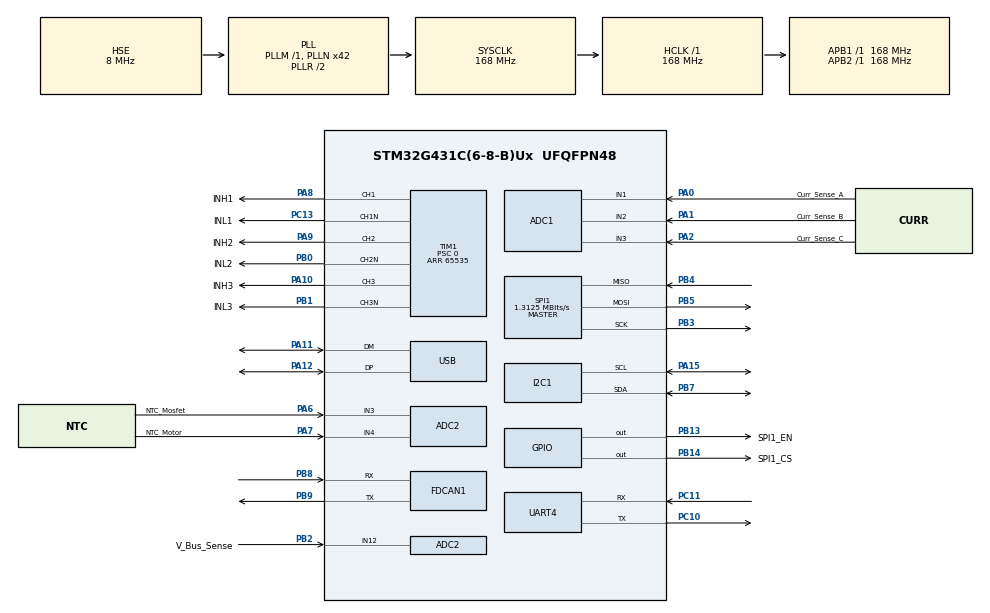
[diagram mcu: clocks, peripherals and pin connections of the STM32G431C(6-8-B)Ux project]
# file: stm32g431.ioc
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ADC1.Channel-6\#ChannelRegularConversion=ADC_CHANNEL_1
ADC1.ClockPrescaler=ADC_CLOCK_ASYNC_DIV1
ADC1.DMAAccessModeView=ENABLE
ADC1.EOCSelection=ADC_EOC_SEQ_CONV
ADC1.EnableInjectedConversion=ENABLE
ADC1.EnableRegularConversion=ENABLE
ADC1.ExternalTrigInjecConv=ADC_EXTERNALTRIGINJEC_T1_TRGO
ADC1.ExternalTrigInjecConvEdge=ADC_EXTERNALTRIGINJECCONV_EDGE_RISING
ADC1.InjNumberOfConversion=3
ADC1.InjectedChannel-2\#ChannelInjectedConversion=ADC_CHANNEL_1
ADC1.InjectedChannel-3\#ChannelInjectedConversion=ADC_CHANNEL_2
ADC1.InjectedChannel-5\#ChannelInjectedConversion=ADC_CHANNEL_3
ADC1.InjectedConvMode=None
ADC1.InjectedOffsetNumber-2\#ChannelInjectedConversion=ADC_OFFSET_NONE
ADC1.InjectedOffsetNumber-3\#ChannelInjectedConversion=ADC_OFFSET_NONE
ADC1.InjectedOffsetNumber-5\#ChannelInjectedConversion=ADC_OFFSET_NONE
ADC1.InjectedRank-2\#ChannelInjectedConversion=1
ADC1.InjectedRank-3\#ChannelInjectedConversion=2
ADC1.InjectedRank-5\#ChannelInjectedConversion=3
ADC1.InjectedSamplingTime-2\#ChannelInjectedConversion=ADC_SAMPLETIME_2CYCLES_5
ADC1.InjectedSamplingTime-3\#ChannelInjectedConversion=ADC_SAMPLETIME_2CYCLES_5
ADC1.InjectedSamplingTime-5\#ChannelInjectedConversion=ADC_SAMPLETIME_2CYCLES_5
ADC1.Mode=ADC_DUALMODE_REGSIMULT_INJECSIMULT
ADC1.NbrOfConversionFlag=1
ADC1.OffsetNumber-6\#ChannelRegularConversion=ADC_OFFSET_NONE
ADC1.Rank-6\#ChannelRegularConversion=1
ADC1.Rank3_Channel=ADC_CHANNEL_3
ADC1.SamplingTime-6\#ChannelRegularConversion=ADC_SAMPLETIME_2CYCLES_5
ADC1.injectedQueueMode=ENABLE
ADC1.master=1
ADC2.Channel-6\#ChannelRegularConversion=ADC_CHANNEL_3
ADC2.Channel-7\#ChannelRegularConversion=ADC_CHANNEL_4
ADC2.Channel-8\#ChannelRegularConversion=ADC_CHANNEL_12
ADC2.ClockPrescaler=ADC_CLOCK_ASYNC_DIV1
ADC2.DMAAccessModeView=ENABLE
ADC2.EnableInjectedConversion=ENABLE
ADC2.EnableRegularConversion=ENABLE
ADC2.InjNumberOfConversion=1
ADC2.InjectedChannel-2\#ChannelInjectedConversion=ADC_CHANNEL_3
ADC2.InjectedOffsetNumber-2\#ChannelInjectedConversion=ADC_OFFSET_NONE
ADC2.InjectedRank-2\#ChannelInjectedConversion=1
ADC2.InjectedSamplingTime-2\#ChannelInjectedConversion=ADC_SAMPLETIME_2CYCLES_5
ADC2.Mode=ADC_DUALMODE_REGSIMULT_INJECSIMULT
ADC2.NbrOfConversion=3
ADC2.NbrOfConversionFlag=1
ADC2.OffsetNumber-6\#ChannelRegularConversion=ADC_OFFSET_NONE
ADC2.OffsetNumber-7\#ChannelRegularConversion=ADC_OFFSET_NONE
ADC2.OffsetNumber-8\#ChannelRegularConversion=ADC_OFFSET_NONE
ADC2.Rank-6\#ChannelRegularConversion=1
ADC2.Rank-7\#ChannelRegularConversion=2
ADC2.Rank-8\#ChannelRegularConversion=3
ADC2.SamplingTime-6\#ChannelRegularConversion=ADC_SAMPLETIME_2CYCLES_5
ADC2.SamplingTime-7\#ChannelRegularConversion=ADC_SAMPLETIME_2CYCLES_5
ADC2.SamplingTime-8\#ChannelRegularConversion=ADC_SAMPLETIME_2CYCLES_5
FDCAN1.CalculateBaudRateNominal=3500000
FDCAN1.CalculateTimeBitNominal=285
FDCAN1.CalculateTimeQuantumNominal=95.23809523809524
FREERTOS.Tasks01=defaultTask,24,512,MainTask,Default,NULL,Dynamic,NULL,NULL;telemTask,8,512,TelemThread,As external,NULL,Dynamic,NULL,NULL;commTask,32,1024,CommThread,As external,NULL,Dynamic,NULL,NULL
FREERTOS.configTOTAL_HEAP_SIZE=12288
I2C1.Timing=0x50916E9F
Mcu.Family=STM32G4
Mcu.Name=STM32G431C(6-8-B)Ux
Mcu.Package=UFQFPN48
NVIC.ADC1_2_IRQn=true\:5\:0\:true\:false\:true\:true\:true\:true\:true
NVIC.PriorityGroup=NVIC_PRIORITYGROUP_4
NVIC.TIM2_IRQn=true\:15\:0\:false\:false\:true\:false\:false\:true\:true
NVIC.TimeBase=TIM2_IRQn
NVIC.TimeBaseIP=TIM2
NVIC.USB_LP_IRQn=true\:5\:0\:false\:false\:true\:true\:false\:true\:true
PA0.GPIO_Label=Curr_Sense_A
PA0.Mode=IN1-Single-Ended
PA0.Signal=ADC1_IN1
PA1.GPIO_Label=Curr_Sense_B
PA1.Mode=IN2-Single-Ended
PA1.Signal=ADC1_IN2
PA10.GPIO_Label=INH3
PA10.Signal=S_TIM1_CH3
PA11.Mode=Device
PA11.Signal=USB_DM
PA12.Mode=Device
PA12.Signal=USB_DP
PA13.Mode=Serial_Wire
PA13.Signal=SYS_JTMS-SWDIO
PA14.Mode=Serial_Wire
PA14.Signal=SYS_JTCK-SWCLK
PA15.Mode=I2C
PA15.Signal=I2C1_SCL
PA2.GPIO_Label=Curr_Sense_C
PA2.Mode=IN3-Single-Ended
PA2.Signal=ADC1_IN3
PA6.GPIO_Label=NTC_Mosfet
PA6.Mode=IN3-Single-Ended
PA6.Signal=ADC2_IN3
PA7.GPIO_Label=NTC_Motor
PA7.Mode=IN4-Single-Ended
PA7.Signal=ADC2_IN4
PA8.GPIO_Label=INH1
PA8.Signal=S_TIM1_CH1
PA9.GPIO_Label=INH2
PA9.Signal=S_TIM1_CH2
PB0.GPIO_Label=INL2
PB0.Mode=PWM Generation2 CH2 CH2N
PB0.Signal=TIM1_CH2N
PB1.GPIO_Label=INL3
PB1.Mode=PWM Generation3 CH3 CH3N
PB1.Signal=TIM1_CH3N
PB13.GPIO_Label=SPI1_EN
PB13.Signal=GPIO_Output
PB14.GPIO_Label=SPI1_CS
PB14.Signal=GPIO_Output
PB2.GPIO_Label=V_Bus_Sense
PB2.Mode=IN12-Single-Ended
PB2.Signal=ADC2_IN12
PB3.Mode=Full_Duplex_Master
PB3.Signal=SPI1_SCK
PB4.Mode=Full_Duplex_Master
PB4.Signal=SPI1_MISO
PB5.Mode=Full_Duplex_Master
PB5.Signal=SPI1_MOSI
PB7.Mode=I2C
PB7.Signal=I2C1_SDA
PB8-BOOT0.Mode=FDCAN_Activate
PB8-BOOT0.Signal=FDCAN1_RX
PB9.Mode=FDCAN_Activate
PB9.Signal=FDCAN1_TX
PC10.Mode=Asynchronous
PC10.Signal=UART4_TX
PC11.Mode=Asynchronous
PC11.Signal=UART4_RX
PC13.GPIO_Label=INL1
PC13.Mode=PWM Generation1 CH1 CH1N
PC13.Signal=TIM1_CH1N
PC15-OSC32_OUT.Signal=RCC_OSC32_OUT
PF0-OSC_IN.Mode=HSE-External-Oscillator
PF0-OSC_IN.Signal=RCC_OSC_IN
PF1-OSC_OUT.Mode=HSE-External-Oscillator
PF1-OSC_OUT.Signal=RCC_OSC_OUT
ProjectManager.HeapSize=0x200
ProjectManager.StackSize=0x400
ProjectManager.TargetToolchain=CMake
RCC.ADC12CLockSelection=RCC_ADC12CLKSOURCE_PLL
RCC.ADC12Freq_Value=48000000
RCC.AHBFreq_Value=168000000
RCC.APB1Freq_Value=168000000
RCC.APB1TimFreq_Value=168000000
RCC.APB2Freq_Value=168000000
RCC.APB2TimFreq_Value=168000000
RCC.CK48CLockSelection=RCC_USBCLKSOURCE_HSI48
RCC.CortexFreq_Value=168000000
RCC.EXTERNAL_CLOCK_VALUE=12288000
RCC.HCLKFreq_Value=168000000
RCC.HSE_VALUE=8000000
RCC.HSI48_VALUE=48000000
RCC.HSI_VALUE=16000000
RCC.LSE_VALUE=32768
RCC.PLLN=42
RCC.PLLP=RCC_PLLP_DIV7
RCC.PLLSourceVirtual=RCC_PLLSOURCE_HSE
RCC.SYSCLKFreq_VALUE=168000000
RCC.SYSCLKSource=RCC_SYSCLKSOURCE_PLLCLK
RCC.USBFreq_Value=48000000
RCC.VCOOutputFreq_Value=336000000
SH.S_TIM1_CH1.0=TIM1_CH1,PWM Generation1 CH1 CH1N
SH.S_TIM1_CH2.0=TIM1_CH2,PWM Generation2 CH2 CH2N
SH.S_TIM1_CH3.0=TIM1_CH3,PWM Generation3 CH3 CH3N
SPI1.BaudRatePrescaler=SPI_BAUDRATEPRESCALER_128
SPI1.CLKPhase=SPI_PHASE_1EDGE
SPI1.CLKPolarity=SPI_POLARITY_LOW
SPI1.CRCCalculation=SPI_CRCCALCULATION_DISABLE
SPI1.CalculateBaudRate=1.3125 MBits/s
SPI1.DataSize=SPI_DATASIZE_8BIT
SPI1.Direction=SPI_DIRECTION_2LINES
SPI1.FirstBit=SPI_FIRSTBIT_MSB
SPI1.Mode=SPI_MODE_MASTER
SPI1.NSS=SPI_NSS_SOFT
SPI1.NSSPMode=SPI_NSS_PULSE_DISABLE
SPI1.TIMode=SPI_TIMODE_DISABLE
SPI1.VirtualType=VM_MASTER
TIM1.AutoReloadPreload=TIM_AUTORELOAD_PRELOAD_DISABLE
TIM1.AutomaticOutput=TIM_AUTOMATICOUTPUT_DISABLE
TIM1.Break2Filter=0
TIM1.Break2Polarity=TIM_BREAK2POLARITY_HIGH
TIM1.Break2State=TIM_BREAK2_DISABLE
TIM1.BreakFilter=0
TIM1.BreakPolarity=TIM_BREAKPOLARITY_HIGH
TIM1.BreakState=TIM_BREAK_DISABLE
TIM1.Channel-PWM\ Generation1\ CH1\ CH1N=TIM_CHANNEL_1
TIM1.Channel-PWM\ Generation2\ CH2\ CH2N=TIM_CHANNEL_2
TIM1.Channel-PWM\ Generation3\ CH3\ CH3N=TIM_CHANNEL_3
TIM1.Channel-PWM\ Generation4\ CH4=TIM_CHANNEL_4
TIM1.ClockDivision=TIM_CLOCKDIVISION_DIV1
TIM1.CounterMode=TIM_COUNTERMODE_UP
TIM1.LockLevel=TIM_LOCKLEVEL_OFF
TIM1.OCFastMode_PWM-PWM\ Generation1\ CH1\ CH1N=TIM_OCFAST_DISABLE
TIM1.OCFastMode_PWM-PWM\ Generation2\ CH2\ CH2N=TIM_OCFAST_DISABLE
TIM1.OCFastMode_PWM-PWM\ Generation3\ CH3\ CH3N=TIM_OCFAST_DISABLE
TIM1.OCFastMode_PWM-PWM\ Generation4\ CH4=TIM_OCFAST_DISABLE
TIM1.OCIdleState_1=TIM_OCIDLESTATE_RESET
TIM1.OCIdleState_2=TIM_OCIDLESTATE_RESET
TIM1.OCIdleState_3=TIM_OCIDLESTATE_RESET
TIM1.OCIdleState_4=TIM_OCIDLESTATE_RESET
TIM1.OCMode_PWM-PWM\ Generation1\ CH1\ CH1N=TIM_OCMODE_PWM1
TIM1.OCMode_PWM-PWM\ Generation2\ CH2\ CH2N=TIM_OCMODE_PWM1
TIM1.OCMode_PWM-PWM\ Generation3\ CH3\ CH3N=TIM_OCMODE_PWM1
TIM1.OCMode_PWM-PWM\ Generation4\ CH4=TIM_OCMODE_PWM2
TIM1.OCNIdleState_1=TIM_OCNIDLESTATE_RESET
TIM1.OCNIdleState_2=TIM_OCNIDLESTATE_RESET
TIM1.OCNIdleState_3=TIM_OCNIDLESTATE_RESET
TIM1.OCNPolarity_1=TIM_OCNPOLARITY_HIGH
TIM1.OCNPolarity_2=TIM_OCNPOLARITY_HIGH
TIM1.OCNPolarity_3=TIM_OCNPOLARITY_HIGH
TIM1.OCPolarity_1=TIM_OCPOLARITY_HIGH
TIM1.OCPolarity_2=TIM_OCPOLARITY_HIGH
TIM1.OCPolarity_3=TIM_OCPOLARITY_HIGH
TIM1.OCPolarity_4=TIM_OCPOLARITY_HIGH
TIM1.OffStateIDLEMode=TIM_OSSI_DISABLE
TIM1.OffStateRunMode=TIM_OSSR_DISABLE
TIM1.Period=65535
TIM1.Prescaler=0
TIM1.Pulse-PWM\ Generation1\ CH1\ CH1N=0
TIM1.Pulse-PWM\ Generation2\ CH2\ CH2N=0
TIM1.Pulse-PWM\ Generation3\ CH3\ CH3N=0
TIM1.Pulse-PWM\ Generation4\ CH4=32767
TIM1.RepetitionCounter=0
TIM1.TIM_MasterOutputTrigger=TIM_TRGO_OC4REF
TIM1.TIM_MasterOutputTrigger2=TIM_TRGO2_RESET
TIM1.TIM_MasterSlaveMode=TIM_MASTERSLAVEMODE_DISABLE
USB_DEVICE.CLASS_NAME_FS=CDC
USB_DEVICE.VirtualMode=Cdc
USB_DEVICE.VirtualModeFS=Cdc_FS
VP_CORDIC_VS_CORDIC.Mode=CORDIC_Activate
VP_FMAC_VS_FMAC.Mode=FMAC_Activate
VP_FREERTOS_VS_CMSIS_V2.Mode=CMSIS_V2
VP_RNG_VS_RNG.Mode=RNG_Activate
VP_SYS_VS_DBSignals.Mode=DisableDeadBatterySignals
VP_SYS_VS_tim2.Mode=TIM2
VP_TIM1_VS_ClockSourceINT.Mode=Internal
VP_USB_DEVICE_VS_USB_DEVICE_CDC_FS.Mode=CDC_FS
board=custom

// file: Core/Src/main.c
/* USER CODE BEGIN Header */
/**
  ******************************************************************************
  * @file           : main.c
  * @brief          : Main program body
  ******************************************************************************
  * @attention
  *
  * Copyright (c) 2025 STMicroelectronics.
  * All rights reserved.
  *
  * This software is licensed under terms that can be found in the LICENSE file
  * in the root directory of this software component.
  * If no LICENSE file comes with this software, it is provided AS-IS.
  *
  ******************************************************************************
  */
/* USER CODE END Header */
#include "main.h"
#include "cmsis_os.h"
#include "usb_device.h"

/* USER CODE BEGIN Includes */
#include "bsp.h"
/* USER CODE END Includes */

ADC_HandleTypeDef hadc1;
ADC_HandleTypeDef hadc2;

CORDIC_HandleTypeDef hcordic;

FDCAN_HandleTypeDef hfdcan1;

FMAC_HandleTypeDef hfmac;

I2C_HandleTypeDef hi2c1;

RNG_HandleTypeDef hrng;

SPI_HandleTypeDef hspi1;

TIM_HandleTypeDef htim1;

UART_HandleTypeDef huart4;

/* Definitions for defaultTask */
osThreadId_t defaultTaskHandle;
const osThreadAttr_t defaultTask_attributes = {
  .name = "defaultTask",
  .priority = (osPriority_t) osPriorityNormal,
  .stack_size = 512 * 4
};
/* Definitions for telemTask */
osThreadId_t telemTaskHandle;
const osThreadAttr_t telemTask_attributes = {
  .name = "telemTask",
  .priority = (osPriority_t) osPriorityLow,
  .stack_size = 512 * 4
};
/* Definitions for commTask */
osThreadId_t commTaskHandle;
const osThreadAttr_t commTask_attributes = {
  .name = "commTask",
  .priority = (osPriority_t) osPriorityAboveNormal,
  .stack_size = 1024 * 4
};

void SystemClock_Config(void);
static void MX_GPIO_Init(void);
static void MX_ADC1_Init(void);
static void MX_ADC2_Init(void);
static void MX_TIM1_Init(void);
static void MX_FDCAN1_Init(void);
static void MX_I2C1_Init(void);
static void MX_UART4_Init(void);
static void MX_CORDIC_Init(void);
static void MX_FMAC_Init(void);
static void MX_RNG_Init(void);
static void MX_SPI1_Init(void);
void MainTask(void *argument);
extern void TelemThread(void *argument);
extern void CommThread(void *argument);

int main(void)
{

  /* MCU Configuration--------------------------------------------------------*/

  /* Reset of all peripherals, Initializes the Flash interface and the Systick. */
  HAL_Init();

  /* Configure the system clock */
  SystemClock_Config();

  /* Initialize all configured peripherals */
  MX_GPIO_Init();
  MX_ADC1_Init();
  MX_ADC2_Init();
  MX_TIM1_Init();
  MX_FDCAN1_Init();
  MX_I2C1_Init();
  MX_UART4_Init();
  MX_CORDIC_Init();
  MX_FMAC_Init();
  MX_RNG_Init();
  MX_SPI1_Init();
  /* USER CODE BEGIN 2 */
  bsp_init();
  bldc_comm_init(bsp_get_motor_handle());
  bldc_telem_init();
  bldc_dronecan_init();
  bldc_drv8323r_init();
  /* USER CODE END 2 */

  /* Init scheduler */
  osKernelInitialize();

  /* Create the thread(s) */
  /* creation of defaultTask */
  defaultTaskHandle = osThreadNew(MainTask, NULL, &defaultTask_attributes);

  /* creation of telemTask */
  telemTaskHandle = osThreadNew(TelemThread, NULL, &telemTask_attributes);

  /* creation of commTask */
  commTaskHandle = osThreadNew(CommThread, NULL, &commTask_attributes);

  /* Start scheduler */
  osKernelStart();

  /* We should never get here as control is now taken by the scheduler */

  /* Infinite loop */
  while (1)
  {

  }
}

void SystemClock_Config(void)
{
  RCC_OscInitTypeDef RCC_OscInitStruct = {0};
  RCC_ClkInitTypeDef RCC_ClkInitStruct = {0};

  /** Configure the main internal regulator output voltage
  */
  HAL_PWREx_ControlVoltageScaling(PWR_REGULATOR_VOLTAGE_SCALE1_BOOST);

  /** Initializes the RCC Oscillators according to the specified parameters
  * in the RCC_OscInitTypeDef structure.
  */
  RCC_OscInitStruct.OscillatorType = RCC_OSCILLATORTYPE_HSI48|RCC_OSCILLATORTYPE_HSE;
  RCC_OscInitStruct.HSEState = RCC_HSE_ON;
  RCC_OscInitStruct.HSI48State = RCC_HSI48_ON;
  RCC_OscInitStruct.PLL.PLLState = RCC_PLL_ON;
  RCC_OscInitStruct.PLL.PLLSource = RCC_PLLSOURCE_HSE;
  RCC_OscInitStruct.PLL.PLLM = RCC_PLLM_DIV1;
  RCC_OscInitStruct.PLL.PLLN = 42;
  RCC_OscInitStruct.PLL.PLLP = RCC_PLLP_DIV7;
  RCC_OscInitStruct.PLL.PLLQ = RCC_PLLQ_DIV2;
  RCC_OscInitStruct.PLL.PLLR = RCC_PLLR_DIV2;
  if (HAL_RCC_OscConfig(&RCC_OscInitStruct) != HAL_OK)
  {
    Error_Handler();
  }

  /** Initializes the CPU, AHB and APB buses clocks
  */
  RCC_ClkInitStruct.ClockType = RCC_CLOCKTYPE_HCLK|RCC_CLOCKTYPE_SYSCLK
                              |RCC_CLOCKTYPE_PCLK1|RCC_CLOCKTYPE_PCLK2;
  RCC_ClkInitStruct.SYSCLKSource = RCC_SYSCLKSOURCE_PLLCLK;
  RCC_ClkInitStruct.AHBCLKDivider = RCC_SYSCLK_DIV1;
  RCC_ClkInitStruct.APB1CLKDivider = RCC_HCLK_DIV1;
  RCC_ClkInitStruct.APB2CLKDivider = RCC_HCLK_DIV1;

  if (HAL_RCC_ClockConfig(&RCC_ClkInitStruct, FLASH_LATENCY_4) != HAL_OK)
  {
    Error_Handler();
  }
}

static void MX_ADC1_Init(void)
{

  ADC_MultiModeTypeDef multimode = {0};
  ADC_InjectionConfTypeDef sConfigInjected = {0};
  ADC_ChannelConfTypeDef sConfig = {0};

  /** Common config
  */
  hadc1.Instance = ADC1;
  hadc1.Init.ClockPrescaler = ADC_CLOCK_ASYNC_DIV1;
  hadc1.Init.Resolution = ADC_RESOLUTION_12B;
  hadc1.Init.DataAlign = ADC_DATAALIGN_RIGHT;
  hadc1.Init.GainCompensation = 0;
  hadc1.Init.ScanConvMode = ADC_SCAN_ENABLE;
  hadc1.Init.EOCSelection = ADC_EOC_SEQ_CONV;
  hadc1.Init.LowPowerAutoWait = DISABLE;
  hadc1.Init.ContinuousConvMode = DISABLE;
  hadc1.Init.NbrOfConversion = 1;
  hadc1.Init.DiscontinuousConvMode = DISABLE;
  hadc1.Init.ExternalTrigConv = ADC_SOFTWARE_START;
  hadc1.Init.ExternalTrigConvEdge = ADC_EXTERNALTRIGCONVEDGE_NONE;
  hadc1.Init.DMAContinuousRequests = DISABLE;
  hadc1.Init.Overrun = ADC_OVR_DATA_PRESERVED;
  hadc1.Init.OversamplingMode = DISABLE;
  if (HAL_ADC_Init(&hadc1) != HAL_OK)
  {
    Error_Handler();
  }

  /** Configure the ADC multi-mode
  */
  multimode.Mode = ADC_DUALMODE_REGSIMULT_INJECSIMULT;
  multimode.DMAAccessMode = ADC_DMAACCESSMODE_12_10_BITS;
  multimode.TwoSamplingDelay = ADC_TWOSAMPLINGDELAY_1CYCLE;
  if (HAL_ADCEx_MultiModeConfigChannel(&hadc1, &multimode) != HAL_OK)
  {
    Error_Handler();
  }

  /** Configure Injected Channel
  */
  sConfigInjected.InjectedChannel = ADC_CHANNEL_1;
  sConfigInjected.InjectedRank = ADC_INJECTED_RANK_1;
  sConfigInjected.InjectedSamplingTime = ADC_SAMPLETIME_2CYCLES_5;
  sConfigInjected.InjectedSingleDiff = ADC_SINGLE_ENDED;
  sConfigInjected.InjectedOffsetNumber = ADC_OFFSET_NONE;
  sConfigInjected.InjectedOffset = 0;
  sConfigInjected.InjectedNbrOfConversion = 3;
  sConfigInjected.InjectedDiscontinuousConvMode = DISABLE;
  sConfigInjected.AutoInjectedConv = DISABLE;
  sConfigInjected.QueueInjectedContext = DISABLE;
  sConfigInjected.ExternalTrigInjecConv = ADC_EXTERNALTRIGINJEC_T1_TRGO;
  sConfigInjected.ExternalTrigInjecConvEdge = ADC_EXTERNALTRIGINJECCONV_EDGE_RISING;
  sConfigInjected.InjecOversamplingMode = DISABLE;
  if (HAL_ADCEx_InjectedConfigChannel(&hadc1, &sConfigInjected) != HAL_OK)
  {
    Error_Handler();
  }
  if (HAL_ADCEx_EnableInjectedQueue(&hadc1) != HAL_OK)
  {
    Error_Handler();
  }

  /** Configure Injected Channel
  */
  sConfigInjected.InjectedChannel = ADC_CHANNEL_2;
  sConfigInjected.InjectedRank = ADC_INJECTED_RANK_2;
  if (HAL_ADCEx_InjectedConfigChannel(&hadc1, &sConfigInjected) != HAL_OK)
  {
    Error_Handler();
  }

  /** Configure Injected Channel
  */
  sConfigInjected.InjectedChannel = ADC_CHANNEL_3;
  sConfigInjected.InjectedRank = ADC_INJECTED_RANK_3;
  if (HAL_ADCEx_InjectedConfigChannel(&hadc1, &sConfigInjected) != HAL_OK)
  {
    Error_Handler();
  }

  /** Configure Regular Channel
  */
  sConfig.Channel = ADC_CHANNEL_1;
  sConfig.Rank = ADC_REGULAR_RANK_1;
  sConfig.SamplingTime = ADC_SAMPLETIME_2CYCLES_5;
  sConfig.SingleDiff = ADC_SINGLE_ENDED;
  sConfig.OffsetNumber = ADC_OFFSET_NONE;
  sConfig.Offset = 0;
  if (HAL_ADC_ConfigChannel(&hadc1, &sConfig) != HAL_OK)
  {
    Error_Handler();
  }

}

static void MX_ADC2_Init(void)
{

  ADC_InjectionConfTypeDef sConfigInjected = {0};
  ADC_ChannelConfTypeDef sConfig = {0};

  /** Common config
  */
  hadc2.Instance = ADC2;
  hadc2.Init.ClockPrescaler = ADC_CLOCK_ASYNC_DIV1;
  hadc2.Init.Resolution = ADC_RESOLUTION_12B;
  hadc2.Init.DataAlign = ADC_DATAALIGN_RIGHT;
  hadc2.Init.GainCompensation = 0;
  hadc2.Init.ScanConvMode = ADC_SCAN_ENABLE;
  hadc2.Init.EOCSelection = ADC_EOC_SINGLE_CONV;
  hadc2.Init.LowPowerAutoWait = DISABLE;
  hadc2.Init.ContinuousConvMode = DISABLE;
  hadc2.Init.NbrOfConversion = 3;
  hadc2.Init.DiscontinuousConvMode = DISABLE;
  hadc2.Init.DMAContinuousRequests = DISABLE;
  hadc2.Init.Overrun = ADC_OVR_DATA_PRESERVED;
  hadc2.Init.OversamplingMode = DISABLE;
  if (HAL_ADC_Init(&hadc2) != HAL_OK)
  {
    Error_Handler();
  }

  /** Configure Injected Channel
  */
  sConfigInjected.InjectedChannel = ADC_CHANNEL_3;
  sConfigInjected.InjectedRank = ADC_INJECTED_RANK_1;
  sConfigInjected.InjectedSamplingTime = ADC_SAMPLETIME_2CYCLES_5;
  sConfigInjected.InjectedSingleDiff = ADC_SINGLE_ENDED;
  sConfigInjected.InjectedOffsetNumber = ADC_OFFSET_NONE;
  sConfigInjected.InjectedOffset = 0;
  sConfigInjected.InjectedNbrOfConversion = 1;
  sConfigInjected.InjectedDiscontinuousConvMode = DISABLE;
  sConfigInjected.AutoInjectedConv = DISABLE;
  sConfigInjected.QueueInjectedContext = DISABLE;
  sConfigInjected.InjecOversamplingMode = DISABLE;
  if (HAL_ADCEx_InjectedConfigChannel(&hadc2, &sConfigInjected) != HAL_OK)
  {
    Error_Handler();
  }

  /** Configure Regular Channel
  */
  sConfig.Channel = ADC_CHANNEL_3;
  sConfig.Rank = ADC_REGULAR_RANK_1;
  sConfig.SamplingTime = ADC_SAMPLETIME_2CYCLES_5;
  sConfig.SingleDiff = ADC_SINGLE_ENDED;
  sConfig.OffsetNumber = ADC_OFFSET_NONE;
  sConfig.Offset = 0;
  if (HAL_ADC_ConfigChannel(&hadc2, &sConfig) != HAL_OK)
  {
    Error_Handler();
  }

  /** Configure Regular Channel
  */
  sConfig.Channel = ADC_CHANNEL_4;
  sConfig.Rank = ADC_REGULAR_RANK_2;
  if (HAL_ADC_ConfigChannel(&hadc2, &sConfig) != HAL_OK)
  {
    Error_Handler();
  }

  /** Configure Regular Channel
  */
  sConfig.Channel = ADC_CHANNEL_12;
  sConfig.Rank = ADC_REGULAR_RANK_3;
  if (HAL_ADC_ConfigChannel(&hadc2, &sConfig) != HAL_OK)
  {
    Error_Handler();
  }

}

static void MX_CORDIC_Init(void)
{

  hcordic.Instance = CORDIC;
  if (HAL_CORDIC_Init(&hcordic) != HAL_OK)
  {
    Error_Handler();
  }

}

static void MX_FDCAN1_Init(void)
{

  hfdcan1.Instance = FDCAN1;
  hfdcan1.Init.ClockDivider = FDCAN_CLOCK_DIV1;
  hfdcan1.Init.FrameFormat = FDCAN_FRAME_CLASSIC;
  hfdcan1.Init.Mode = FDCAN_MODE_NORMAL;
  hfdcan1.Init.AutoRetransmission = DISABLE;
  hfdcan1.Init.TransmitPause = DISABLE;
  hfdcan1.Init.ProtocolException = DISABLE;
  hfdcan1.Init.NominalPrescaler = 16;
  hfdcan1.Init.NominalSyncJumpWidth = 1;
  hfdcan1.Init.NominalTimeSeg1 = 1;
  hfdcan1.Init.NominalTimeSeg2 = 1;
  hfdcan1.Init.DataPrescaler = 1;
  hfdcan1.Init.DataSyncJumpWidth = 1;
  hfdcan1.Init.DataTimeSeg1 = 1;
  hfdcan1.Init.DataTimeSeg2 = 1;
  hfdcan1.Init.StdFiltersNbr = 0;
  hfdcan1.Init.ExtFiltersNbr = 0;
  hfdcan1.Init.TxFifoQueueMode = FDCAN_TX_FIFO_OPERATION;
  if (HAL_FDCAN_Init(&hfdcan1) != HAL_OK)
  {
    Error_Handler();
  }

}

static void MX_FMAC_Init(void)
{

  hfmac.Instance = FMAC;
  if (HAL_FMAC_Init(&hfmac) != HAL_OK)
  {
    Error_Handler();
  }

}

static void MX_I2C1_Init(void)
{

  hi2c1.Instance = I2C1;
  hi2c1.Init.Timing = 0x50916E9F;
  hi2c1.Init.OwnAddress1 = 0;
  hi2c1.Init.AddressingMode = I2C_ADDRESSINGMODE_7BIT;
  hi2c1.Init.DualAddressMode = I2C_DUALADDRESS_DISABLE;
  hi2c1.Init.OwnAddress2 = 0;
  hi2c1.Init.OwnAddress2Masks = I2C_OA2_NOMASK;
  hi2c1.Init.GeneralCallMode = I2C_GENERALCALL_DISABLE;
  hi2c1.Init.NoStretchMode = I2C_NOSTRETCH_DISABLE;
  if (HAL_I2C_Init(&hi2c1) != HAL_OK)
  {
    Error_Handler();
  }

  /** Configure Analogue filter
  */
  if (HAL_I2CEx_ConfigAnalogFilter(&hi2c1, I2C_ANALOGFILTER_ENABLE) != HAL_OK)
  {
    Error_Handler();
  }

  /** Configure Digital filter
  */
  if (HAL_I2CEx_ConfigDigitalFilter(&hi2c1, 0) != HAL_OK)
  {
    Error_Handler();
  }

}

static void MX_RNG_Init(void)
{

  hrng.Instance = RNG;
  hrng.Init.ClockErrorDetection = RNG_CED_ENABLE;
  if (HAL_RNG_Init(&hrng) != HAL_OK)
  {
    Error_Handler();
  }

}

static void MX_SPI1_Init(void)
{

  /* SPI1 parameter configuration*/
  hspi1.Instance = SPI1;
  hspi1.Init.Mode = SPI_MODE_MASTER;
  hspi1.Init.Direction = SPI_DIRECTION_2LINES;
  hspi1.Init.DataSize = SPI_DATASIZE_8BIT;
  hspi1.Init.CLKPolarity = SPI_POLARITY_LOW;
  hspi1.Init.CLKPhase = SPI_PHASE_1EDGE;
  hspi1.Init.NSS = SPI_NSS_SOFT;
  hspi1.Init.BaudRatePrescaler = SPI_BAUDRATEPRESCALER_128;
  hspi1.Init.FirstBit = SPI_FIRSTBIT_MSB;
  hspi1.Init.TIMode = SPI_TIMODE_DISABLE;
  hspi1.Init.CRCCalculation = SPI_CRCCALCULATION_DISABLE;
  hspi1.Init.CRCPolynomial = 7;
  hspi1.Init.CRCLength = SPI_CRC_LENGTH_DATASIZE;
  hspi1.Init.NSSPMode = SPI_NSS_PULSE_DISABLE;
  if (HAL_SPI_Init(&hspi1) != HAL_OK)
  {
    Error_Handler();
  }

}

static void MX_TIM1_Init(void)
{

  TIM_ClockConfigTypeDef sClockSourceConfig = {0};
  TIM_MasterConfigTypeDef sMasterConfig = {0};
  TIM_OC_InitTypeDef sConfigOC = {0};
  TIM_BreakDeadTimeConfigTypeDef sBreakDeadTimeConfig = {0};

  htim1.Instance = TIM1;
  htim1.Init.Prescaler = 0;
  htim1.Init.CounterMode = TIM_COUNTERMODE_UP;
  htim1.Init.Period = 65535;
  htim1.Init.ClockDivision = TIM_CLOCKDIVISION_DIV1;
  htim1.Init.RepetitionCounter = 0;
  htim1.Init.AutoReloadPreload = TIM_AUTORELOAD_PRELOAD_DISABLE;
  if (HAL_TIM_Base_Init(&htim1) != HAL_OK)
  {
    Error_Handler();
  }
  sClockSourceConfig.ClockSource = TIM_CLOCKSOURCE_INTERNAL;
  if (HAL_TIM_ConfigClockSource(&htim1, &sClockSourceConfig) != HAL_OK)
  {
    Error_Handler();
  }
  if (HAL_TIM_PWM_Init(&htim1) != HAL_OK)
  {
    Error_Handler();
  }
  sMasterConfig.MasterOutputTrigger = TIM_TRGO_OC4REF;
  sMasterConfig.MasterOutputTrigger2 = TIM_TRGO2_RESET;
  sMasterConfig.MasterSlaveMode = TIM_MASTERSLAVEMODE_DISABLE;
  if (HAL_TIMEx_MasterConfigSynchronization(&htim1, &sMasterConfig) != HAL_OK)
  {
    Error_Handler();
  }
  sConfigOC.OCMode = TIM_OCMODE_PWM1;
  sConfigOC.Pulse = 0;
  sConfigOC.OCPolarity = TIM_OCPOLARITY_HIGH;
  sConfigOC.OCNPolarity = TIM_OCNPOLARITY_HIGH;
  sConfigOC.OCFastMode = TIM_OCFAST_DISABLE;
  sConfigOC.OCIdleState = TIM_OCIDLESTATE_RESET;
  sConfigOC.OCNIdleState = TIM_OCNIDLESTATE_RESET;
  if (HAL_TIM_PWM_ConfigChannel(&htim1, &sConfigOC, TIM_CHANNEL_1) != HAL_OK)
  {
    Error_Handler();
  }
  if (HAL_TIM_PWM_ConfigChannel(&htim1, &sConfigOC, TIM_CHANNEL_2) != HAL_OK)
  {
    Error_Handler();
  }
  if (HAL_TIM_PWM_ConfigChannel(&htim1, &sConfigOC, TIM_CHANNEL_3) != HAL_OK)
  {
    Error_Handler();
  }
  sBreakDeadTimeConfig.OffStateRunMode = TIM_OSSR_DISABLE;
  sBreakDeadTimeConfig.OffStateIDLEMode = TIM_OSSI_DISABLE;
  sBreakDeadTimeConfig.LockLevel = TIM_LOCKLEVEL_OFF;
  sBreakDeadTimeConfig.DeadTime = 0;
  sBreakDeadTimeConfig.BreakState = TIM_BREAK_DISABLE;
  sBreakDeadTimeConfig.BreakPolarity = TIM_BREAKPOLARITY_HIGH;
  sBreakDeadTimeConfig.BreakFilter = 0;
  sBreakDeadTimeConfig.BreakAFMode = TIM_BREAK_AFMODE_INPUT;
  sBreakDeadTimeConfig.Break2State = TIM_BREAK2_DISABLE;
  sBreakDeadTimeConfig.Break2Polarity = TIM_BREAK2POLARITY_HIGH;
  sBreakDeadTimeConfig.Break2Filter = 0;
  sBreakDeadTimeConfig.Break2AFMode = TIM_BREAK_AFMODE_INPUT;
  sBreakDeadTimeConfig.AutomaticOutput = TIM_AUTOMATICOUTPUT_DISABLE;
  if (HAL_TIMEx_ConfigBreakDeadTime(&htim1, &sBreakDeadTimeConfig) != HAL_OK)
  {
    Error_Handler();
  }
  /* USER CODE BEGIN TIM1_Init 2 */
  /* TIM1 CH4: internal OC4REF triggers ADC1 injected conversions (no pin in .ioc). */
  sConfigOC.OCMode = TIM_OCMODE_PWM2;
  sConfigOC.Pulse = __HAL_TIM_GET_AUTORELOAD(&htim1) / 2U;
  sConfigOC.OCPolarity = TIM_OCPOLARITY_HIGH;
  sConfigOC.OCNPolarity = TIM_OCNPOLARITY_HIGH;
  sConfigOC.OCFastMode = TIM_OCFAST_DISABLE;
  sConfigOC.OCIdleState = TIM_OCIDLESTATE_RESET;
  sConfigOC.OCNIdleState = TIM_OCNIDLESTATE_RESET;
  if (HAL_TIM_PWM_ConfigChannel(&htim1, &sConfigOC, TIM_CHANNEL_4) != HAL_OK)
  {
    Error_Handler();
  }
  /* USER CODE END TIM1_Init 2 */
  HAL_TIM_MspPostInit(&htim1);

}

static void MX_UART4_Init(void)
{

  huart4.Instance = UART4;
  huart4.Init.BaudRate = 115200;
  huart4.Init.WordLength = UART_WORDLENGTH_8B;
  huart4.Init.StopBits = UART_STOPBITS_1;
  huart4.Init.Parity = UART_PARITY_NONE;
  huart4.Init.Mode = UART_MODE_TX_RX;
  huart4.Init.HwFlowCtl = UART_HWCONTROL_NONE;
  huart4.Init.OverSampling = UART_OVERSAMPLING_16;
  huart4.Init.OneBitSampling = UART_ONE_BIT_SAMPLE_DISABLE;
  huart4.Init.ClockPrescaler = UART_PRESCALER_DIV1;
  huart4.AdvancedInit.AdvFeatureInit = UART_ADVFEATURE_NO_INIT;
  if (HAL_UART_Init(&huart4) != HAL_OK)
  {
    Error_Handler();
  }
  if (HAL_UARTEx_SetTxFifoThreshold(&huart4, UART_TXFIFO_THRESHOLD_1_8) != HAL_OK)
  {
    Error_Handler();
  }
  if (HAL_UARTEx_SetRxFifoThreshold(&huart4, UART_RXFIFO_THRESHOLD_1_8) != HAL_OK)
  {
    Error_Handler();
  }
  if (HAL_UARTEx_DisableFifoMode(&huart4) != HAL_OK)
  {
    Error_Handler();
  }

}

static void MX_GPIO_Init(void)
{
  GPIO_InitTypeDef GPIO_InitStruct = {0};

  /* GPIO Ports Clock Enable */
  __HAL_RCC_GPIOC_CLK_ENABLE();
  __HAL_RCC_GPIOF_CLK_ENABLE();
  __HAL_RCC_GPIOA_CLK_ENABLE();
  __HAL_RCC_GPIOB_CLK_ENABLE();

  /*Configure GPIO pin Output Level */
  HAL_GPIO_WritePin(GPIOB, SPI1_EN_Pin|SPI1_CS_Pin, GPIO_PIN_RESET);

  /*Configure GPIO pins : SPI1_EN_Pin SPI1_CS_Pin */
  GPIO_InitStruct.Pin = SPI1_EN_Pin|SPI1_CS_Pin;
  GPIO_InitStruct.Mode = GPIO_MODE_OUTPUT_PP;
  GPIO_InitStruct.Pull = GPIO_NOPULL;
  GPIO_InitStruct.Speed = GPIO_SPEED_FREQ_LOW;
  HAL_GPIO_Init(GPIOB, &GPIO_InitStruct);

}

void MainTask(void *argument)
{
  /* init code for USB_Device */
  MX_USB_Device_Init();
  /* USER CODE BEGIN 5 */
  for (;;)
  {
    osDelay(10);
  }
  /* USER CODE END 5 */
}

void HAL_TIM_PeriodElapsedCallback(TIM_HandleTypeDef *htim)
{
  if (htim->Instance == TIM2)
  {
    HAL_IncTick();
  }
  /* USER CODE BEGIN Callback 1 */
#if CONFIG_FOC_ENABLE
  extern void bldc_foc_hal_period_callback(TIM_HandleTypeDef *htim);
  bldc_foc_hal_period_callback(htim);
#endif
  /* USER CODE END Callback 1 */
}

void Error_Handler(void)
{
  __disable_irq();
  while (1)
  {
  }
}
